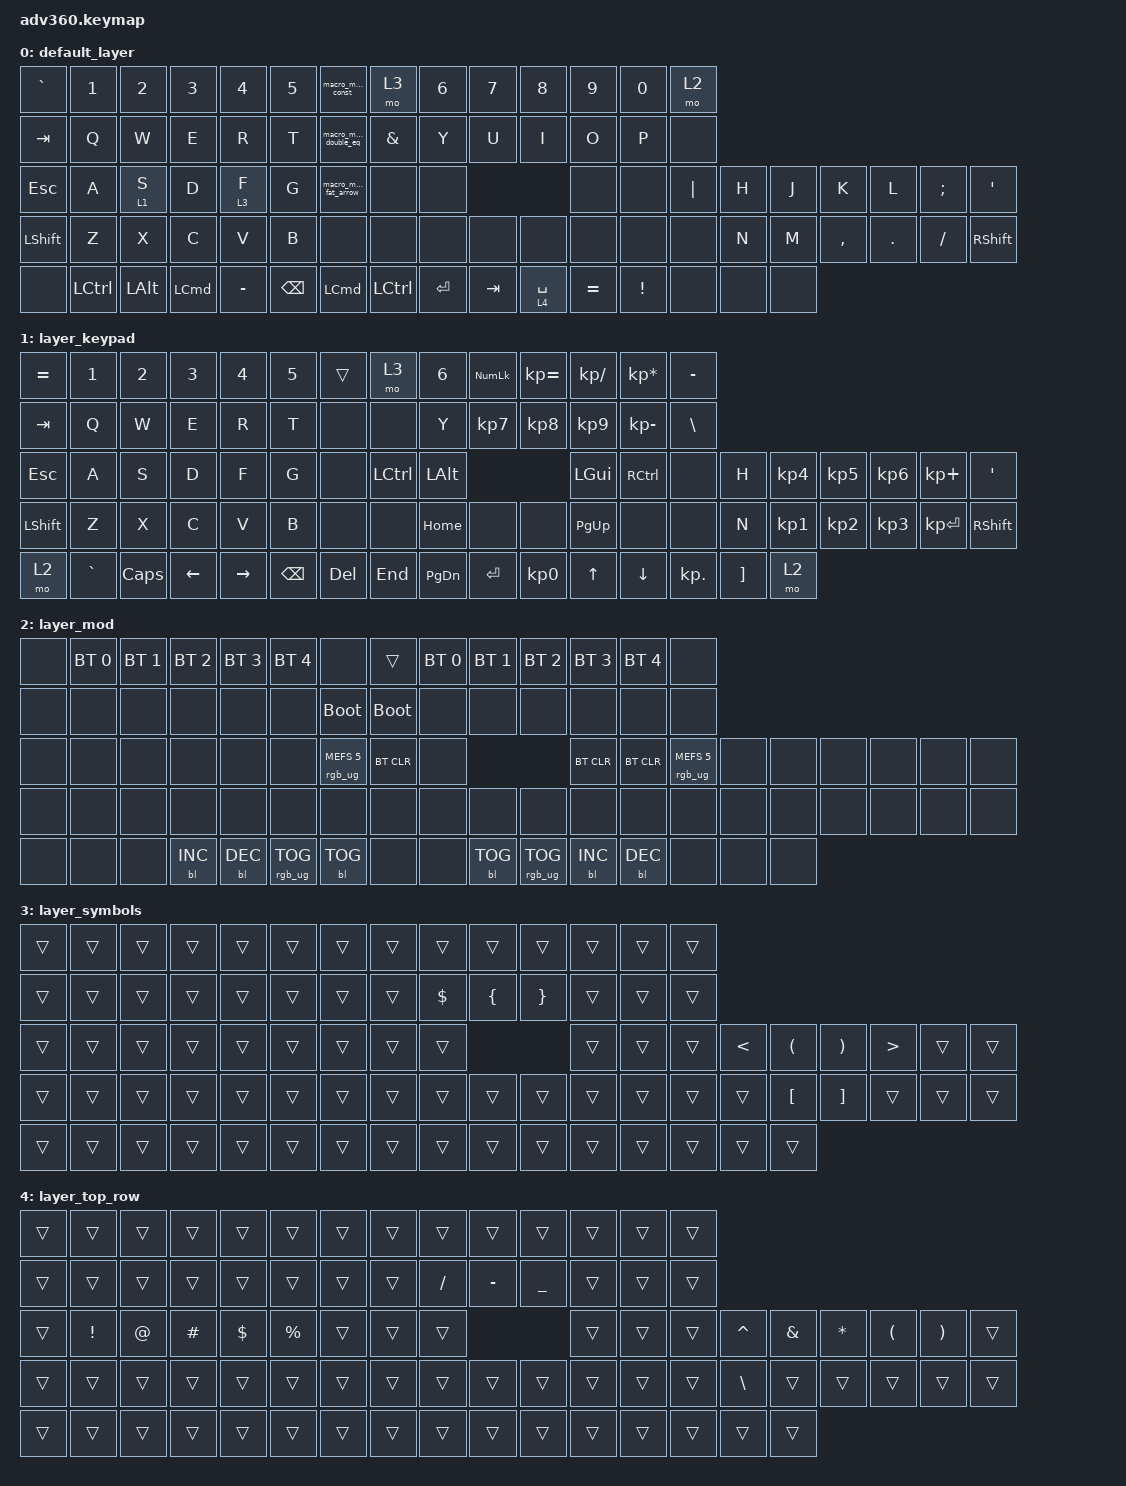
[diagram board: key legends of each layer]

/*
 * Copyright (c) 2020 The ZMK Contributors
 *
 * SPDX-License-Identifier: MIT
 */


/* THIS FILE WAS GENERATED!
 *
 * This file was generated automatically. You may or may not want to
 * edit it directly.
 */

#include <behaviors.dtsi>
#include <dt-bindings/zmk/keys.h>
#include <dt-bindings/zmk/bt.h>
#include <dt-bindings/zmk/rgb.h>
#include <dt-bindings/zmk/backlight.h>

/ {
  behaviors {
    #include "macros.dtsi"

    hm: homerow_mods {
        compatible = "zmk,behavior-hold-tap";
        label = "HOMEROW_MODS";
        #binding-cells = <2>;
        tapping-term-ms = <200>;
        quick_tap_ms = <175>;
        flavor = "tap-preferred";
        bindings = <&kp>, <&kp>;
    };
  };

    keymap {
        compatible = "zmk,keymap";


        default_layer {
            bindings = <
 &kp GRAVE            &kp N1        &kp N2            &kp N3     &kp N4    &kp N5                &macro_macro_const             &mo 3     &kp N6   &kp N7       &kp N8     &kp N9           &kp N0     &mo 2
   &kp TAB             &kp Q         &kp W             &kp E      &kp R     &kp T            &macro_macro_double_eq     &kp AMPERSAND      &kp Y    &kp U        &kp I      &kp O            &kp P     &none
   &kp ESC             &kp A       &lt 1 S             &kp D    &lt 3 F     &kp G            &macro_macro_fat_arrow             &none      &none                            &none            &none  &kp PIPE   &kp H   &kp J      &kp K    &kp L  &kp SEMI    &kp SQT
 &kp LSHFT             &kp Z         &kp X             &kp C      &kp V     &kp B                             &none             &none      &none    &none        &none      &none            &none     &none   &kp N   &kp M  &kp COMMA  &kp DOT  &kp FSLH  &kp RSHFT
     &none  &kp LEFT_CONTROL  &kp LEFT_ALT  &kp LEFT_COMMAND  &kp MINUS  &kp BSPC                  &kp LEFT_COMMAND  &kp LEFT_CONTROL  &kp ENTER  &kp TAB  &lt 4 SPACE  &kp EQUAL  &kp EXCLAMATION     &none   &none   &none
            >;
        };

        layer_keypad {
            bindings = <
 &kp EQUAL     &kp N1    &kp N2    &kp N3     &kp N4    &kp N5             &trans      &mo 3     &kp N6  &kp KP_NUM  &kp KP_EQUAL  &kp KP_DIVIDE  &kp KP_MULTIPLY   &kp MINUS
   &kp TAB      &kp Q     &kp W     &kp E      &kp R     &kp T              &none      &none      &kp Y   &kp KP_N7     &kp KP_N8      &kp KP_N9     &kp KP_MINUS    &kp BSLH
   &kp ESC      &kp A     &kp S     &kp D      &kp F     &kp G              &none  &kp LCTRL   &kp LALT                                 &kp LGUI        &kp RCTRL       &none     &kp H  &kp KP_N4  &kp KP_N5  &kp KP_N6   &kp KP_PLUS    &kp SQT
 &kp LSHFT      &kp Z     &kp X     &kp C      &kp V     &kp B              &none      &none   &kp HOME       &none         &none      &kp PG_UP            &none       &none     &kp N  &kp KP_N1  &kp KP_N2  &kp KP_N3  &kp KP_ENTER  &kp RSHFT
     &mo 2  &kp GRAVE  &kp CAPS  &kp LEFT  &kp RIGHT  &kp BSPC            &kp DEL    &kp END  &kp PG_DN   &kp ENTER     &kp KP_N0         &kp UP         &kp DOWN  &kp KP_DOT  &kp RBKT      &mo 2
            >;
        };

        layer_mod {
            bindings = <
  &none  &bt BT_SEL 0  &bt BT_SEL 1  &bt BT_SEL 2  &bt BT_SEL 3     &bt BT_SEL 4                             &none       &trans  &bt BT_SEL 0  &bt BT_SEL 1     &bt BT_SEL 2  &bt BT_SEL 3  &bt BT_SEL 4                   &none
  &none         &none         &none         &none         &none            &none                       &bootloader  &bootloader         &none         &none            &none         &none         &none                   &none
  &none         &none         &none         &none         &none            &none            &rgb_ug RGB_MEFS_CMD 5   &bt BT_CLR         &none                                   &bt BT_CLR    &bt BT_CLR  &rgb_ug RGB_MEFS_CMD 5   &none   &none   &none   &none   &none   &none
  &none         &none         &none         &none         &none            &none                             &none        &none         &none         &none            &none         &none         &none                   &none   &none   &none   &none   &none   &none   &none
  &none         &none         &none    &bl BL_INC    &bl BL_DEC  &rgb_ug RGB_TOG                        &bl BL_TOG        &none         &none    &bl BL_TOG  &rgb_ug RGB_TOG    &bl BL_INC    &bl BL_DEC                   &none   &none   &none
            >;
        };

        layer_symbols {
            bindings = <
 &trans  &trans  &trans  &trans  &trans  &trans            &trans  &trans      &trans          &trans           &trans  &trans  &trans  &trans
 &trans  &trans  &trans  &trans  &trans  &trans            &trans  &trans  &kp DOLLAR  &kp LEFT_BRACE  &kp RIGHT_BRACE  &trans  &trans  &trans
 &trans  &trans  &trans  &trans  &trans  &trans            &trans  &trans      &trans                                   &trans  &trans  &trans  &kp LESS_THAN  &kp LEFT_PARENTHESIS  &kp RIGHT_PARENTHESIS  &kp GREATER_THAN  &trans  &trans
 &trans  &trans  &trans  &trans  &trans  &trans            &trans  &trans      &trans          &trans           &trans  &trans  &trans  &trans         &trans      &kp LEFT_BRACKET      &kp RIGHT_BRACKET            &trans  &trans  &trans
 &trans  &trans  &trans  &trans  &trans  &trans            &trans  &trans      &trans          &trans           &trans  &trans  &trans  &trans         &trans                &trans
            >;
        };

        layer_top_row {
            bindings = <
 &trans           &trans       &trans    &trans      &trans       &trans            &trans  &trans    &trans     &trans          &trans  &trans  &trans  &trans
 &trans           &trans       &trans    &trans      &trans       &trans            &trans  &trans  &kp FSLH  &kp MINUS  &kp UNDERSCORE  &trans  &trans  &trans
 &trans  &kp EXCLAMATION  &kp AT_SIGN  &kp HASH  &kp DOLLAR  &kp PERCENT            &trans  &trans    &trans                             &trans  &trans  &trans  &kp CARET  &kp AMPERSAND  &kp ASTERISK  &kp LEFT_PARENTHESIS  &kp RIGHT_PARENTHESIS  &trans
 &trans           &trans       &trans    &trans      &trans       &trans            &trans  &trans    &trans     &trans          &trans  &trans  &trans  &trans   &kp BSLH         &trans        &trans                &trans                 &trans  &trans
 &trans           &trans       &trans    &trans      &trans       &trans            &trans  &trans    &trans     &trans          &trans  &trans  &trans  &trans     &trans         &trans
            >;
        };

    };
};
